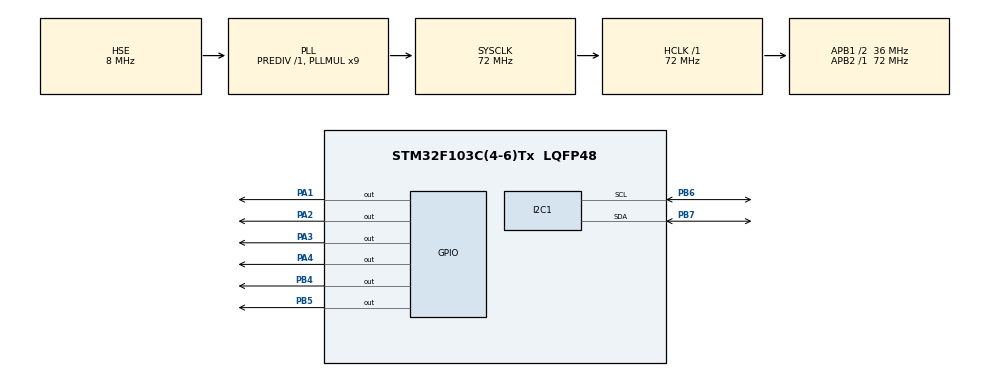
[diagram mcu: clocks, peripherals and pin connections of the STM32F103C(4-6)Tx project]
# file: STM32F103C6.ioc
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I2C1.I2C_Mode=I2C_Fast
Mcu.Family=STM32F1
Mcu.Name=STM32F103C(4-6)Tx
Mcu.Package=LQFP48
NVIC.PriorityGroup=NVIC_PRIORITYGROUP_4
PA1.Signal=GPIO_Output
PA2.Signal=GPIO_Output
PA3.Signal=GPIO_Output
PA4.Signal=GPIO_Output
PB4.GPIO_PuPd=GPIO_PULLUP
PB4.PinState=GPIO_PIN_SET
PB4.Signal=GPIO_Output
PB5.GPIO_ModeDefaultOutputPP=GPIO_MODE_OUTPUT_PP
PB5.GPIO_PuPd=GPIO_PULLDOWN
PB5.Signal=GPIO_Output
PB6.Mode=I2C
PB6.Signal=I2C1_SCL
PB7.Mode=I2C
PB7.Signal=I2C1_SDA
PC14-OSC32_IN.Mode=LSE-External-Oscillator
PC14-OSC32_IN.Signal=RCC_OSC32_IN
PC15-OSC32_OUT.Mode=LSE-External-Oscillator
PC15-OSC32_OUT.Signal=RCC_OSC32_OUT
PD0-OSC_IN.Mode=HSE-External-Oscillator
PD0-OSC_IN.Signal=RCC_OSC_IN
PD1-OSC_OUT.Mode=HSE-External-Oscillator
PD1-OSC_OUT.Signal=RCC_OSC_OUT
ProjectManager.HeapSize=0x200
ProjectManager.StackSize=0x400
ProjectManager.TargetToolchain=STM32CubeIDE
RCC.AHBFreq_Value=72000000
RCC.APB1CLKDivider=RCC_HCLK_DIV2
RCC.APB1Freq_Value=36000000
RCC.APB1TimFreq_Value=72000000
RCC.APB2Freq_Value=72000000
RCC.APB2TimFreq_Value=72000000
RCC.HCLKFreq_Value=72000000
RCC.PLLMUL=RCC_PLL_MUL9
RCC.PLLSourceVirtual=RCC_PLLSOURCE_HSE
RCC.SYSCLKFreq_VALUE=72000000
RCC.SYSCLKSource=RCC_SYSCLKSOURCE_PLLCLK
RCC.USBFreq_Value=72000000
VP_SYS_VS_ND.Mode=No_Debug
board=custom

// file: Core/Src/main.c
/* USER CODE BEGIN Header */
/**
  ******************************************************************************
  * @file           : main.c
  * @brief          : Main program body
  ******************************************************************************
  * @attention
  *
  * Copyright (c) 2024 STMicroelectronics.
  * All rights reserved.
  *
  * This software is licensed under terms that can be found in the LICENSE file
  * in the root directory of this software component.
  * If no LICENSE file comes with this software, it is provided AS-IS.
  *
  ******************************************************************************
  */
/* USER CODE END Header */
#include "main.h"

/* USER CODE BEGIN PTD */
int work_mode = 1;
int speed_of_wheels = 500;
int battery = 100;

/* USER CODE END PTD */

I2C_HandleTypeDef hi2c1;

void SystemClock_Config(void);
static void MX_GPIO_Init(void);
static void MX_I2C1_Init(void);
/* USER CODE BEGIN PFP */
#include "OLED.h"
/* USER CODE END PFP */

/* USER CODE BEGIN 0 */
void show_work_situtation(void)
{
    if(work_mode=1)
    {

    }
}
/* USER CODE END 0 */

int main(void)
{

  /* MCU Configuration--------------------------------------------------------*/

  /* Reset of all peripherals, Initializes the Flash interface and the Systick. */
  HAL_Init();

  /* Configure the system clock */
  SystemClock_Config();

  /* Initialize all configured peripherals */
  MX_GPIO_Init();
  MX_I2C1_Init();

  /* Infinite loop */
  /* USER CODE BEGIN WHILE */
  while (1)
  {
      HAL_GPIO_WritePin(GPIOA,GPIO_PIN_1,1);
      HAL_GPIO_WritePin(GPIOA,GPIO_PIN_2,1);
      HAL_GPIO_WritePin(GPIOA,GPIO_PIN_3,1);
      HAL_GPIO_WritePin(GPIOA,GPIO_PIN_4,1);
      HAL_Delay(1000);
      HAL_GPIO_WritePin(GPIOA,GPIO_PIN_1,0);
      HAL_GPIO_WritePin(GPIOA,GPIO_PIN_2,0);
      HAL_GPIO_WritePin(GPIOA,GPIO_PIN_3,0);
      HAL_GPIO_WritePin(GPIOA,GPIO_PIN_4,0);
      //现在是test分支
      OLED_Init();//OLED初始
      HAL_GPIO_WritePin(GPIOA,GPIO_PIN_1,1);
      /*在(16, 0)位置显示字符串"Hello World!"，字体大小为8*16点阵*/
      OLED_ShowString(0, 0, "blog.zeruns.tech", OLED_8X16);
      /*在(0, 18)位置显示字符'A'，字体大小为6*8点阵*/
      OLED_ShowChar(0, 18, 'A', OLED_6X8);

      /*在(16, 18)位置显示字符串"Hello World!"，字体大小为6*8点阵*/
      OLED_ShowString(16, 18, "Hello World!", OLED_6X8);

      /*在(0, 28)位置显示数字12345，长度为5，字体大小为6*8点阵*/
      OLED_ShowNum(0, 28, 12345, 5, OLED_6X8);

      /*在(40, 28)位置显示有符号数字-66，长度为2，字体大小为6*8点阵*/
      OLED_ShowSignedNum(40, 28, -66, 2, OLED_6X8);

      /*在(70, 28)位置显示十六进制数字0xA5A5，长度为4，字体大小为6*8点阵*/
      OLED_ShowHexNum(70, 28, 0xA5A5, 4, OLED_6X8);

      /*在(0, 38)位置显示二进制数字0xA5，长度为8，字体大小为6*8点阵*/
      OLED_ShowBinNum(0, 38, 0xA5, 8, OLED_6X8);

      /*在(60, 38)位置显示浮点数字123.45，整数部分长度为3，小数部分长度为2，字体大小为6*8点阵*/
      OLED_ShowFloatNum(60, 38, 123.45, 3, 2, OLED_6X8);

      /*在(0, 48)位置显示汉字串"你好，世界。"，字体大小为固定的16*16点阵*/
      OLED_ShowChinese(0, 48, "你好，世界。");

      /*在(96, 48)位置显示图像，宽16像素，高16像素，图像数据为Diode数组*/
      OLED_ShowImage(96, 48, 16, 16, Diode);

      /*在(96, 18)位置打印格式化字符串，字体大小为6*8点阵，格式化字符串为"[%02d]"*/
      OLED_Printf(96, 18, OLED_6X8, "[%02d]", 6);

      /*调用OLED_Update函数，将OLED显存数组的内容更新到OLED硬件进行显示*/
      OLED_Update();

     // HAL_GPIO_TogglePin(LED2_GPIO_Port, LED2_Pin); // LED电平翻转
      /*延时3000ms，观察现象*/
      HAL_Delay(3000);

      /*清空OLED显存数组*/
      OLED_Clear();

      /*在(5, 8)位置画点*/
      OLED_DrawPoint(5, 8);

      /*获取(5, 8)位置的点*/
      if (OLED_GetPoint(5, 8))
      {
          /*如果指定点点亮，则在(10, 4)位置显示字符串"YES"，字体大小为6*8点阵*/
          OLED_ShowString(10, 4, "YES", OLED_6X8);
      }
      else
      {
          /*如果指定点未点亮，则在(10, 4)位置显示字符串"NO "，字体大小为6*8点阵*/
          OLED_ShowString(10, 4, "NO ", OLED_6X8);
      }

      /*在(40, 0)和(127, 15)位置之间画直线*/
      OLED_DrawLine(40, 0, 127, 15);

      /*在(40, 15)和(127, 0)位置之间画直线*/
      OLED_DrawLine(40, 15, 127, 0);

      /*在(0, 20)位置画矩形，宽12像素，高15像素，未填充*/
      OLED_DrawRectangle(0, 20, 12, 15, OLED_UNFILLED);

      /*在(0, 40)位置画矩形，宽12像素，高15像素，填充*/
      OLED_DrawRectangle(0, 40, 12, 15, OLED_FILLED);

      /*在(20, 20)、(40, 25)和(30, 35)位置之间画三角形，未填充*/
      OLED_DrawTriangle(20, 20, 40, 25, 30, 35, OLED_UNFILLED);

      /*在(20, 40)、(40, 45)和(30, 55)位置之间画三角形，填充*/
      OLED_DrawTriangle(20, 40, 40, 45, 30, 55, OLED_FILLED);

      /*在(55, 27)位置画圆，半径8像素，未填充*/
      OLED_DrawCircle(55, 27, 8, OLED_UNFILLED);

      /*在(55, 47)位置画圆，半径8像素，填充*/
      OLED_DrawCircle(55, 47, 8, OLED_FILLED);

      /*在(82, 27)位置画椭圆，横向半轴12像素，纵向半轴8像素，未填充*/
      OLED_DrawEllipse(82, 27, 12, 8, OLED_UNFILLED);
      // https://blog.zeruns.tech
      /*在(82, 47)位置画椭圆，横向半轴12像素，纵向半轴8像素，填充*/
      OLED_DrawEllipse(82, 47, 12, 8, OLED_FILLED);

      /*在(110, 18)位置画圆弧，半径15像素，起始角度25度，终止角度125度，未填充*/
      OLED_DrawArc(110, 18, 15, 25, 125, OLED_UNFILLED);

      /*在(110, 38)位置画圆弧，半径15像素，起始角度25度，终止角度125度，填充*/
      OLED_DrawArc(110, 38, 15, 25, 125, OLED_FILLED);

      /*调用OLED_Update函数，将OLED显存数组的内容更新到OLED硬件进行显示*/
      OLED_Update();

     // HAL_GPIO_TogglePin(LED2_GPIO_Port, LED2_Pin); // LED电平翻转

      /*延时1500ms，观察现象*/
      HAL_Delay(1500);

      HAL_GPIO_WritePin(GPIOA,GPIO_PIN_2,1);

      while (1)
      {
          HAL_Delay(1000);
          if((speed_of_wheels%2) == 1)
          {
              speed_of_wheels++;
          }
          else
          {
              speed_of_wheels--;
          }
          HAL_Delay(1000);

          //HAL_GPIO_TogglePin(GPIOA,GPIO_PIN_3);
          //OLED_ShowNum(0, 1, 3, 1, 16, 1);

          //OLED_ShowString(0, 5, "hello world", 16, 1);

          //HAL_GPIO_TogglePin(GPIOA,GPIO_PIN_4);

      }
    /* USER CODE END WHILE */

    /* USER CODE BEGIN 3 */

      /* USER CODE END WHILE */

    /* USER CODE BEGIN 3 */
  }
  /* USER CODE END 3 */
}

void SystemClock_Config(void)
{
  RCC_OscInitTypeDef RCC_OscInitStruct = {0};
  RCC_ClkInitTypeDef RCC_ClkInitStruct = {0};

  /** Initializes the RCC Oscillators according to the specified parameters
  * in the RCC_OscInitTypeDef structure.
  */
  RCC_OscInitStruct.OscillatorType = RCC_OSCILLATORTYPE_HSE;
  RCC_OscInitStruct.HSEState = RCC_HSE_ON;
  RCC_OscInitStruct.HSEPredivValue = RCC_HSE_PREDIV_DIV1;
  RCC_OscInitStruct.HSIState = RCC_HSI_ON;
  RCC_OscInitStruct.PLL.PLLState = RCC_PLL_ON;
  RCC_OscInitStruct.PLL.PLLSource = RCC_PLLSOURCE_HSE;
  RCC_OscInitStruct.PLL.PLLMUL = RCC_PLL_MUL9;
  if (HAL_RCC_OscConfig(&RCC_OscInitStruct) != HAL_OK)
  {
    Error_Handler();
  }

  /** Initializes the CPU, AHB and APB buses clocks
  */
  RCC_ClkInitStruct.ClockType = RCC_CLOCKTYPE_HCLK|RCC_CLOCKTYPE_SYSCLK
                              |RCC_CLOCKTYPE_PCLK1|RCC_CLOCKTYPE_PCLK2;
  RCC_ClkInitStruct.SYSCLKSource = RCC_SYSCLKSOURCE_PLLCLK;
  RCC_ClkInitStruct.AHBCLKDivider = RCC_SYSCLK_DIV1;
  RCC_ClkInitStruct.APB1CLKDivider = RCC_HCLK_DIV2;
  RCC_ClkInitStruct.APB2CLKDivider = RCC_HCLK_DIV1;

  if (HAL_RCC_ClockConfig(&RCC_ClkInitStruct, FLASH_LATENCY_2) != HAL_OK)
  {
    Error_Handler();
  }
}

static void MX_I2C1_Init(void)
{

  hi2c1.Instance = I2C1;
  hi2c1.Init.ClockSpeed = 400000;
  hi2c1.Init.DutyCycle = I2C_DUTYCYCLE_2;
  hi2c1.Init.OwnAddress1 = 0;
  hi2c1.Init.AddressingMode = I2C_ADDRESSINGMODE_7BIT;
  hi2c1.Init.DualAddressMode = I2C_DUALADDRESS_DISABLE;
  hi2c1.Init.OwnAddress2 = 0;
  hi2c1.Init.GeneralCallMode = I2C_GENERALCALL_DISABLE;
  hi2c1.Init.NoStretchMode = I2C_NOSTRETCH_DISABLE;
  if (HAL_I2C_Init(&hi2c1) != HAL_OK)
  {
    Error_Handler();
  }

}

static void MX_GPIO_Init(void)
{
  GPIO_InitTypeDef GPIO_InitStruct = {0};

  /* GPIO Ports Clock Enable */
  __HAL_RCC_GPIOC_CLK_ENABLE();
  __HAL_RCC_GPIOD_CLK_ENABLE();
  __HAL_RCC_GPIOA_CLK_ENABLE();
  __HAL_RCC_GPIOB_CLK_ENABLE();

  /*Configure GPIO pin Output Level */
  HAL_GPIO_WritePin(GPIOA, GPIO_PIN_1|GPIO_PIN_2|GPIO_PIN_3|GPIO_PIN_4, GPIO_PIN_RESET);

  /*Configure GPIO pin Output Level */
  HAL_GPIO_WritePin(GPIOB, GPIO_PIN_4, GPIO_PIN_SET);

  /*Configure GPIO pin Output Level */
  HAL_GPIO_WritePin(GPIOB, GPIO_PIN_5, GPIO_PIN_RESET);

  /*Configure GPIO pins : PA1 PA2 PA3 PA4 */
  GPIO_InitStruct.Pin = GPIO_PIN_1|GPIO_PIN_2|GPIO_PIN_3|GPIO_PIN_4;
  GPIO_InitStruct.Mode = GPIO_MODE_OUTPUT_PP;
  GPIO_InitStruct.Pull = GPIO_NOPULL;
  GPIO_InitStruct.Speed = GPIO_SPEED_FREQ_LOW;
  HAL_GPIO_Init(GPIOA, &GPIO_InitStruct);

  /*Configure GPIO pin : PB4 */
  GPIO_InitStruct.Pin = GPIO_PIN_4;
  GPIO_InitStruct.Mode = GPIO_MODE_OUTPUT_PP;
  GPIO_InitStruct.Pull = GPIO_PULLUP;
  GPIO_InitStruct.Speed = GPIO_SPEED_FREQ_LOW;
  HAL_GPIO_Init(GPIOB, &GPIO_InitStruct);

  /*Configure GPIO pin : PB5 */
  GPIO_InitStruct.Pin = GPIO_PIN_5;
  GPIO_InitStruct.Mode = GPIO_MODE_OUTPUT_PP;
  GPIO_InitStruct.Pull = GPIO_PULLDOWN;
  GPIO_InitStruct.Speed = GPIO_SPEED_FREQ_LOW;
  HAL_GPIO_Init(GPIOB, &GPIO_InitStruct);

}

void Error_Handler(void)
{
  __disable_irq();
  while (1)
  {
  }
}
